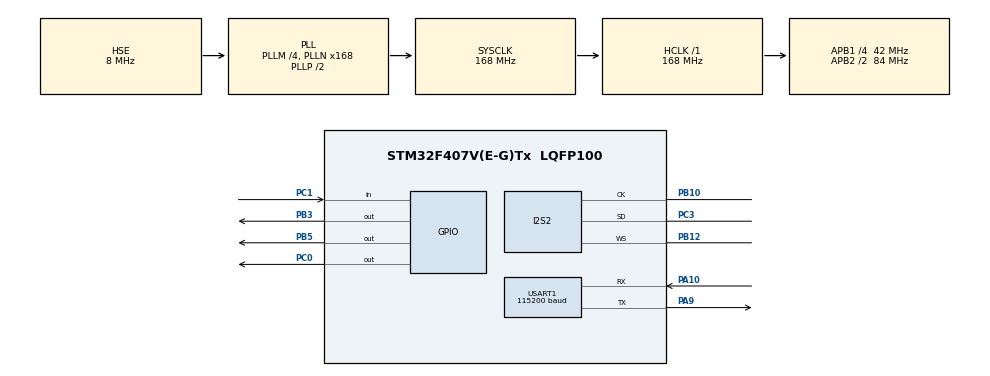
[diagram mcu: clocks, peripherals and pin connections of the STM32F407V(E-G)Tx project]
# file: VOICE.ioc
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Dma.Request0=SPI2_RX
Dma.SPI2_RX.0.Direction=DMA_PERIPH_TO_MEMORY
Dma.SPI2_RX.0.FIFOMode=DMA_FIFOMODE_DISABLE
Dma.SPI2_RX.0.Instance=DMA1_Stream3
Dma.SPI2_RX.0.MemDataAlignment=DMA_MDATAALIGN_WORD
Dma.SPI2_RX.0.MemInc=DMA_MINC_ENABLE
Dma.SPI2_RX.0.Mode=DMA_CIRCULAR
Dma.SPI2_RX.0.PeriphDataAlignment=DMA_PDATAALIGN_WORD
Dma.SPI2_RX.0.PeriphInc=DMA_PINC_DISABLE
Dma.SPI2_RX.0.Priority=DMA_PRIORITY_VERY_HIGH
I2S2.AudioFreq=I2S_AUDIOFREQ_8K
I2S2.DataFormat=I2S_DATAFORMAT_24B
I2S2.ErrorAudioFreq=0.0 %
I2S2.FullDuplexMode=I2S_FULLDUPLEXMODE_DISABLE
I2S2.Instance=SPI$Index
I2S2.Mode=I2S_MODE_MASTER_RX
I2S2.RealAudioFreq=8.0 KHz
I2S2.VirtualMode=I2S_MODE_MASTER
Mcu.Family=STM32F4
Mcu.Name=STM32F407V(E-G)Tx
Mcu.Package=LQFP100
NVIC.DMA1_Stream3_IRQn=true\:15\:0\:true\:false\:true\:false\:true\:true
NVIC.PriorityGroup=NVIC_PRIORITYGROUP_4
NVIC.SPI2_IRQn=true\:3\:0\:true\:false\:true\:true\:true\:true
NVIC.TIM4_IRQn=true\:4\:0\:true\:false\:true\:true\:true\:true
NVIC.TIM6_DAC_IRQn=true\:4\:0\:true\:false\:true\:true\:true\:true
NVIC.USART1_IRQn=true\:1\:0\:true\:false\:true\:true\:true\:true
PA10.Mode=Asynchronous
PA10.Signal=USART1_RX
PA13.Mode=Serial_Wire
PA13.Signal=SYS_JTMS-SWDIO
PA14.Mode=Serial_Wire
PA14.Signal=SYS_JTCK-SWCLK
PA9.Mode=Asynchronous
PA9.Signal=USART1_TX
PB10.Mode=Half_Duplex_Master
PB10.Signal=I2S2_CK
PB12.Mode=Half_Duplex_Master
PB12.Signal=I2S2_WS
PB3.Signal=GPIO_Output
PB5.Signal=GPIO_Output
PC0.Signal=GPIO_Output
PC1.Signal=GPIO_Input
PC3.Mode=Half_Duplex_Master
PC3.Signal=I2S2_SD
PH0-OSC_IN.Mode=HSE-External-Oscillator
PH0-OSC_IN.Signal=RCC_OSC_IN
PH1-OSC_OUT.Mode=HSE-External-Oscillator
PH1-OSC_OUT.Signal=RCC_OSC_OUT
ProjectManager.HeapSize=0x200
ProjectManager.StackSize=0x400
ProjectManager.TargetToolchain=MDK-ARM V5.32
RCC.48MHZClocksFreq_Value=84000000
RCC.AHBFreq_Value=168000000
RCC.APB1CLKDivider=RCC_HCLK_DIV4
RCC.APB1Freq_Value=42000000
RCC.APB1TimFreq_Value=84000000
RCC.APB2CLKDivider=RCC_HCLK_DIV2
RCC.APB2Freq_Value=84000000
RCC.APB2TimFreq_Value=168000000
RCC.CortexFreq_Value=168000000
RCC.HCLKFreq_Value=168000000
RCC.HSE_VALUE=8000000
RCC.HSI_VALUE=16000000
RCC.LSE_VALUE=32768
RCC.PLLM=4
RCC.PLLN=168
RCC.PLLSourceVirtual=RCC_PLLSOURCE_HSE
RCC.SYSCLKFreq_VALUE=168000000
RCC.SYSCLKSource=RCC_SYSCLKSOURCE_PLLCLK
RCC.VCOOutputFreq_Value=336000000
TIM6.Prescaler=168-1
USART1.BaudRate=115200
USART1.VirtualMode=VM_ASYNC
VP_TIM4_VS_ClockSourceINT.Mode=Internal
VP_TIM6_VS_ClockSourceINT.Mode=Enable_Timer
board=custom

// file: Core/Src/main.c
/* USER CODE BEGIN Header */
/**
  ******************************************************************************
  * @file           : main.c
  * @brief          : Main program body
  ******************************************************************************
  * @attention
  *
  * Copyright (c) 2026 STMicroelectronics.
  * All rights reserved.
  *
  * This software is licensed under terms that can be found in the LICENSE file
  * in the root directory of this software component.
  * If no LICENSE file comes with this software, it is provided AS-IS.
  *
  ******************************************************************************
  */
/* USER CODE END Header */
#include "main.h"
#include "dma.h"
#include "i2s.h"
#include "tim.h"
#include "usart.h"
#include "gpio.h"

/* USER CODE BEGIN Includes */

// 硬件驱动模块头文件，包含所有外设和FFT接口
#include "hardware.h"

/* USER CODE END Includes */

void SystemClock_Config(void);

/* USER CODE BEGIN 0 */

// ==================== 全局变量定义 ====================
// printf调试标志（保留未使用）
volatile uint8_t printf_flag=0;
// I2S DMA传输完成计数器（调试用）
volatile unsigned dma_cnt;
// 拼接并符号扩展后的32位音频样本
volatile int val32;
// I2S DMA原始接收缓冲区（16位格式）
volatile uint32_t audio_buf[buffer_size];
// DMA传输计数器（保留未使用）
volatile uint32_t dma_count=0;
// 200-500Hz频段能量占比（0~100%）
float target_ratio=0.0f;
// 频谱峰值频率（保留未使用）
float freq=0;
// A加权声压级（dB SPL），变量名拼写错误但不影响功能
float sql_db=0.0f;

/* USER CODE END 0 */

int main(void)
{

  /* MCU Configuration--------------------------------------------------------*/

  /* Reset of all peripherals, Initializes the Flash interface and the Systick. */
  HAL_Init();

  /* Configure the system clock */
  SystemClock_Config();

  /* Initialize all configured peripherals */
  MX_GPIO_Init();
  MX_DMA_Init();
  MX_I2S2_Init();
  MX_TIM4_Init();
  MX_TIM6_Init();
  MX_USART1_UART_Init();
  /* USER CODE BEGIN 2 */

	// 初始化1.69寸SPI LCD显示屏
	SPI_LCD_Init();
	// 设置LCD背景色为黑色
	LCD_SetBackColor(LCD_BLACK);
	// 设置LCD前景色为黄色
	LCD_SetColor(LCD_YELLOW);

	// 启动TIM4定时器（用于串口接收超时，调试用）
	HAL_TIM_Base_Start_IT(&htim4);
	// 启动TIM6定时器（保留未使用）
	HAL_TIM_Base_Start_IT(&htim6);

	// 启动I2S DMA接收，开始采集INMP441音频数据
	HAL_I2S_Receive_DMA(&hi2s2,(uint16_t*)audio_buf,buffer_size);

	// 初始化FFT处理模块
	fft_init();
	// FFT结果结构体指针（保留未使用）
	FFT_RESULT_T *fft_get_result;

  /* USER CODE END 2 */

  /* Infinite loop */
  /* USER CODE BEGIN WHILE */
  while (1)
  {
		// 当FFT缓冲区满时，处理一帧音频数据
		if(fft_ready){
			// 执行FFT变换和频谱分析
			fft_process();
			// 计算200-500Hz频段能量占比
			target_ratio=FFT_calculateTargetRatio();
			// 计算A加权声压级
			sql_db=FFT_CalculateSPL();
			// 清除FFT就绪标志，准备下一帧采集
			fft_ready=0;
		}

		// ==================== LCD显示逻辑 ====================
		char text[50];
		// 显示当前声压级
		sprintf(text,"NOISE:%.1fDB ",sql_db);
		LCD_DisplayString(26,100,text);

		// 显示200-500Hz频段能量占比
		sprintf(text,"NBR:%.1f %% ",target_ratio);
		LCD_DisplayString(26,150,text);

		// 噪声状态判断：分贝>65dB且占比>50%时判定为噪声超标
		if(sql_db>65&&target_ratio>50){
			sprintf(text,"Noisey  ");
		}
		else{
			sprintf(text,"Normal  ");
		}
		LCD_DisplayString(26,200,text);

		// 串口调试功能（已注释，生产环境关闭）
		//uart_proc();

    /* USER CODE END WHILE */

  }
}

void SystemClock_Config(void)
{
  RCC_OscInitTypeDef RCC_OscInitStruct = {0};
  RCC_ClkInitTypeDef RCC_ClkInitStruct = {0};

  /** Configure the main internal regulator output voltage
  */
  __HAL_RCC_PWR_CLK_ENABLE();
  __HAL_PWR_VOLTAGESCALING_CONFIG(PWR_REGULATOR_VOLTAGE_SCALE1);

  /** Initializes the RCC Oscillators according to the specified parameters
  * in the RCC_OscInitTypeDef structure.
  */
  RCC_OscInitStruct.OscillatorType = RCC_OSCILLATORTYPE_HSE;
  RCC_OscInitStruct.HSEState = RCC_HSE_ON;
  RCC_OscInitStruct.PLL.PLLState = RCC_PLL_ON;
  RCC_OscInitStruct.PLL.PLLSource = RCC_PLLSOURCE_HSE;
  RCC_OscInitStruct.PLL.PLLM = 4;
  RCC_OscInitStruct.PLL.PLLN = 168;
  RCC_OscInitStruct.PLL.PLLP = RCC_PLLP_DIV2;
  RCC_OscInitStruct.PLL.PLLQ = 4;
  if (HAL_RCC_OscConfig(&RCC_OscInitStruct) != HAL_OK)
  {
    Error_Handler();
  }

  /** Initializes the CPU, AHB and APB buses clocks
  */
  RCC_ClkInitStruct.ClockType = RCC_CLOCKTYPE_HCLK|RCC_CLOCKTYPE_SYSCLK
                              |RCC_CLOCKTYPE_PCLK1|RCC_CLOCKTYPE_PCLK2;
  RCC_ClkInitStruct.SYSCLKSource = RCC_SYSCLKSOURCE_PLLCLK;
  RCC_ClkInitStruct.AHBCLKDivider = RCC_SYSCLK_DIV1;
  RCC_ClkInitStruct.APB1CLKDivider = RCC_HCLK_DIV4;
  RCC_ClkInitStruct.APB2CLKDivider = RCC_HCLK_DIV2;

  if (HAL_RCC_ClockConfig(&RCC_ClkInitStruct, FLASH_LATENCY_5) != HAL_OK)
  {
    Error_Handler();
  }
}

void Error_Handler(void)
{
  __disable_irq();
  while (1)
  {
  }
}
